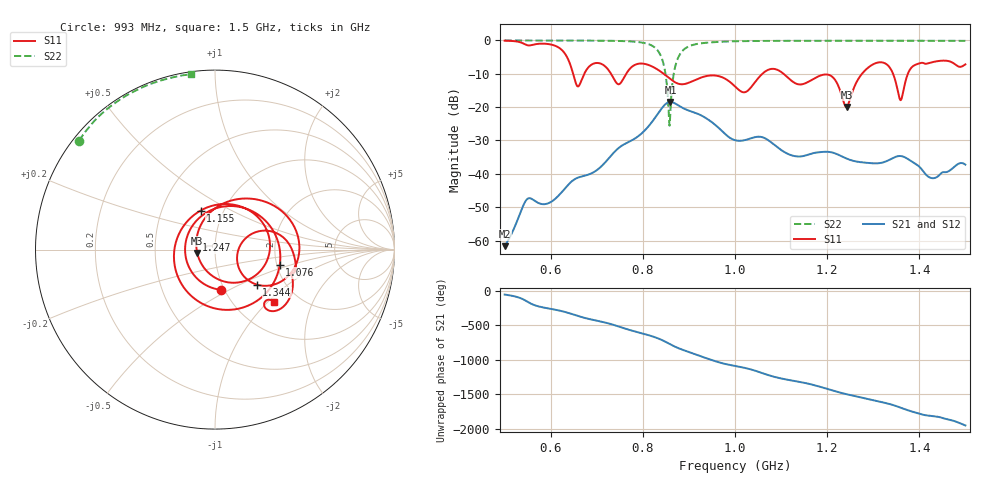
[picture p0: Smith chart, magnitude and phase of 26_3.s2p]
! TOUCHSTONE file generated by CST MICROWAVE STUDIO
! Date and time: Fri Dec 11 14:14:16 2020
! Project name: Scenario_1_Planar_Body_Tissue_Out_of_Line_v2.cst
! Parameters = {dy1=86.5; L_HA=400; Ltissue=700; MT=2.54; Rad_Dielectric=30; Rad_Lower=7.3; Rad_Upper=30; Wtissue=700; a_HA=580; a_WG=246; b_HA=500; b_WG=121; c_HA=0; c_WG=187; d_feed=85; dx1=520; h_feed=15; h_lower=18; h_upper=40; hfat=3; hgap=25; hmuscle=50; hskin=1.5}
! Header version: 2018
! Port assignment regex: !\s*Touchstone port\s*([0-9]+)\s*=\s*(CST MWS port|CST DS port)\s*([0-9]+|Zmin|Zmax)\s*\(\"(.*)\"\)(\s*mode\s*([0-9]+))?.*
! Touchstone port assignment:
! Touchstone port 1 = CST MWS port 1 ("")
! Touchstone port 2 = CST MWS port 2 ("")
# GHz S DB R 50
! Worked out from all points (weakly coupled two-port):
!   1003 points, 500 MHz to 1.5 GHz, reference 50 ohm
!   highest |S21| = -18.45 dB at 860 MHz (marker M1); lowest = -61.7 dB at 500 MHz (marker M2)
!   lowest |S11| = -19.9 dB at 1.242 GHz (marker M3), VSWR 1.22, Z = 41 - j1.57 ohm
!   |S11| at or under -10 dB: 730.9 MHz to 763.9 MHz (32.94 MHz wide, 4.41 % of centre); 845.2 MHz to 1.059 GHz (214.2 MHz wide, 22.5 % of centre); 1.105 GHz to 1.276 GHz (170.3 MHz wide, 14.3 % of centre)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
!   |S22| runs from -25.6 to 0.0 dB; largest |S21 - S12| = 3.1e-05
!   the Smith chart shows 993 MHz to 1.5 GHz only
!   S11 on the Smith chart (normalised r, x): 993 MHz: 0.96, -0.45; 1.076 GHz: 2.07, -0.41; 1.155 GHz: 0.78, +0.36; 1.247 GHz: 0.81, +0.09; 1.344 GHz: 1.45, -0.62; 1.5 GHz: 1.50, -1.08
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0.5  -0.08 -122.0  -61.69 -51.2  -61.69 -51.2  -0.01 151.1
0.549  -1.43 -145.9  -47.57 -153.2  -47.57 -153.2  -0.01 147.8
0.63  -3.78 146.7  -44.52 58.1  -44.52 58.1  -0.03 141.7
0.667  -11.88 176.9  -40.80 -18.5  -40.80 -18.5  -0.04 138.4
0.716  -7.53 107.2  -36.91 -94.2  -36.91 -94.2  -0.09 132.8
0.742  -12.60 7.2  -32.92 -143.4  -32.92 -143.4  -0.14 128.9
0.787  -7.10 164.9  -29.03 125.3  -29.03 125.3  -0.44 118.0
0.834  -8.90 46.2  -21.71 29.7  -21.71 29.7  -3.36 83.9
0.86  -11.61 -29.8  -18.45 -55.6  -18.45 -55.6  -20.67 -107.0
0.887  -13.14 -123.9  -20.28 -134.9  -20.28 -134.9  -2.99 179.4
0.932  -10.88 83.0  -22.88 117.8  -22.88 117.8  -0.77 153.4
0.993  -12.91 -81.9  -29.53 1.4  -29.52 1.4  -0.28 141.3
1  -13.79 -104.1  -29.91 -7.3  -29.91 -7.3  -0.25 140.3
1.046  -12.06 75.7  -28.93 -81.8  -28.93 -81.8  -0.17 134.8
1.076  -8.62 -13.3  -30.30 -148.6  -30.31 -148.6  -0.14 131.8
1.155  -12.70 110.4  -34.42 100.9  -34.42 100.9  -0.10 125.1
1.167  -11.79 80.5  -33.88 81.6  -33.88 81.6  -0.10 124.2
1.242  -19.93 -169.1  -35.41 -58.1  -35.41 -58.1  -0.08 118.4
1.247  -18.68 152.6  -35.69 -65.8  -35.69 -65.8  -0.08 118.1
1.334  -7.80 -26.1  -35.87 162.0  -35.87 162.0  -0.08 111.5
1.344  -10.36 -39.9  -35.18 142.6  -35.18 142.6  -0.09 110.7
1.5  -7.19 -41.7  -37.25 -151.7  -37.25 -151.7  -0.13 97.9
